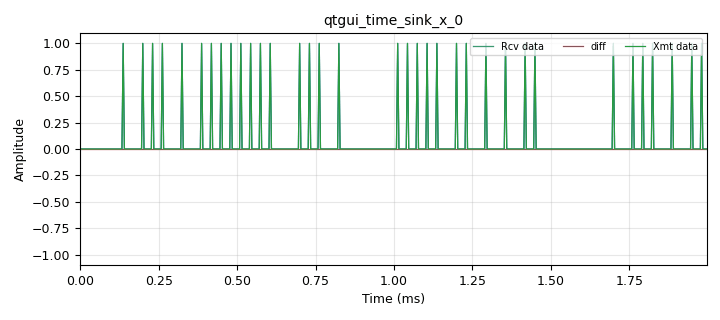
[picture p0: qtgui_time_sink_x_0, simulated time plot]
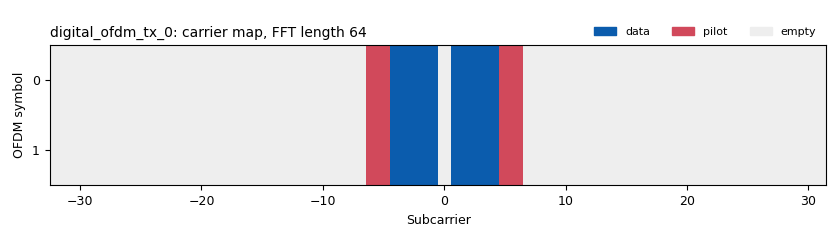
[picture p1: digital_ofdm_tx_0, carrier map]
options:
  parameters:
    category: Custom
    description: OFDM loopback with BER measurement
    generate_options: qt_gui
    id: OFDM_loopback_BER_2
    output_language: python
    title: OFDM_loopback_BER_2
  states: {}

blocks:
- name: delay
  id: variable_qtgui_range
  parameters:
    label: Delay
    rangeType: int
    start: '0'
    step: '1'
    stop: '1000'
    value: '100'
    widget: counter
  states: {}
- name: fft_len
  id: variable
  parameters:
    value: '64'
  states: {}
- name: freq_offset
  id: variable_qtgui_range
  parameters:
    label: Frequency Offset
    start: '-0.1'
    step: '0.001'
    stop: '0.1'
    value: '0'
  states: {}
- name: len_tag_key
  id: variable
  parameters:
    value: '"packet_len"'
  states: {}
- name: noise_volt
  id: variable_qtgui_range
  parameters:
    label: Noise Voltage
    start: '0'
    step: '0.01'
    stop: '1'
    value: '0.0'
  states: {}
- name: packet_len
  id: variable
  parameters:
    value: '50'
  states: {}
- name: samp_rate
  id: variable
  parameters:
    value: 256e3
  states: {}
- name: taps
  id: variable
  parameters:
    value: '[1.0 + 0.0j, ]'
  states: {}
- name: time_offset
  id: variable_qtgui_range
  parameters:
    label: Timing Offset
    start: '0.999'
    step: '0.0001'
    stop: '1.001'
    value: '1.000'
  states: {}
- name: Ber
  id: qtgui_number_sink
  parameters:
    autoscale: 'True'
    graph_type: qtgui.NUM_GRAPH_HORIZ
    name: Ber
    type: float
  states: {}
- name: analog_random_source_x_0
  id: analog_random_source_x
  parameters:
    max: '2'
    min: '0'
    num_samps: '50'
    repeat: 'True'
    type: byte
  states: {}
- name: blocks_delay_0
  id: blocks_delay
  parameters:
    delay: delay
    type: byte
  states: {}
- name: blocks_repack_bits_bb_1_0
  id: blocks_repack_bits_bb
  parameters:
    endianness: gr.GR_MSB_FIRST
    k: '8'
    l: '1'
    len_tag_key: ''
  states: {}
- name: blocks_repack_bits_bb_1_0_0
  id: blocks_repack_bits_bb
  parameters:
    endianness: gr.GR_MSB_FIRST
    k: '8'
    l: '1'
    len_tag_key: ''
  states: {}
- name: blocks_stream_to_tagged_stream_0
  id: blocks_stream_to_tagged_stream
  parameters:
    len_tag_key: len_tag_key
    packet_len: packet_len
    type: byte
  states: {}
- name: blocks_sub_xx_0
  id: blocks_sub_xx
  parameters:
    type: float
  states: {}
- name: blocks_throttle_0
  id: blocks_throttle
  parameters:
    samples_per_second: samp_rate
    type: complex
  states: {}
- name: blocks_uchar_to_float_1_0
  id: blocks_uchar_to_float
  parameters: {}
  states: {}
- name: blocks_uchar_to_float_1_0_0
  id: blocks_uchar_to_float
  parameters: {}
  states: {}
- name: channels_channel_model_0
  id: channels_channel_model
  parameters:
    block_tags: 'True'
    epsilon: time_offset
    freq_offset: freq_offset
    noise_voltage: noise_volt
    seed: '0'
    taps: taps
  states: {}
- name: digital_ofdm_rx_0
  id: digital_ofdm_rx
  parameters:
    cp_len: fft_len//4
    fft_len: fft_len
    header_mod: '"BPSK"'
    occupied_carriers: ((-4,-3,-2,-1,1,2,3,4),)
    packet_len_key: '"rx_len"'
    payload_mod: '"QPSK"'
    pilot_carriers: ((-6,-5,5,6),)
    pilot_symbols: ((-1,1,-1,1),)
    sync_word1: None
    sync_word2: None
  states: {}
- name: digital_ofdm_tx_0
  id: digital_ofdm_tx
  parameters:
    cp_len: fft_len//4
    fft_len: fft_len
    header_mod: '"BPSK"'
    occupied_carriers: ((-4,-3,-2,-1,1,2,3,4),)
    packet_len_key: len_tag_key
    payload_mod: '"QPSK"'
    pilot_carriers: ((-6,-5,5,6),)
    pilot_symbols: ((-1,1,-1,1),)
    rolloff: '0'
    sync_word1: None
    sync_word2: None
  states: {}
- name: fec_ber_bf_0
  id: fec_ber_bf
  parameters:
    berminerrors: '1'
    test_mode: 'False'
  states: {}
- name: qtgui_time_sink_x_0
  id: qtgui_time_sink_x
  parameters:
    ctrlpanel: 'True'
    label1: Rcv data
    label2: diff
    label3: Xmt data
    name: ''
    nconnections: '3'
    size: '512'
    srate: samp_rate
    tr_delay: '50e-6'
    tr_level: '0'
    tr_mode: qtgui.TRIG_MODE_TAG
    tr_tag: '"rx_len"'
    type: float
    ymax: '1.1'
    ymin: '-1.1'
  states: {}
- name: virtual_sink_0
  id: virtual_sink
  parameters:
    stream_id: t1
  states: {}
- name: virtual_sink_1
  id: virtual_sink
  parameters:
    stream_id: t2
  states: {}
- name: virtual_source_0
  id: virtual_source
  parameters:
    stream_id: t1
  states: {}
- name: virtual_source_1
  id: virtual_source
  parameters:
    stream_id: t2
  states: {}

connections:
- [analog_random_source_x_0, '0', blocks_stream_to_tagged_stream_0, '0']
- [analog_random_source_x_0, '0', virtual_sink_0, '0']
- [blocks_delay_0, '0', blocks_repack_bits_bb_1_0_0, '0']
- [blocks_delay_0, '0', fec_ber_bf_0, '1']
- [blocks_repack_bits_bb_1_0, '0', blocks_uchar_to_float_1_0, '0']
- [blocks_repack_bits_bb_1_0_0, '0', blocks_uchar_to_float_1_0_0, '0']
- [blocks_stream_to_tagged_stream_0, '0', digital_ofdm_tx_0, '0']
- [blocks_sub_xx_0, '0', qtgui_time_sink_x_0, '1']
- [blocks_throttle_0, '0', channels_channel_model_0, '0']
- [blocks_uchar_to_float_1_0, '0', blocks_sub_xx_0, '0']
- [blocks_uchar_to_float_1_0, '0', qtgui_time_sink_x_0, '0']
- [blocks_uchar_to_float_1_0_0, '0', blocks_sub_xx_0, '1']
- [blocks_uchar_to_float_1_0_0, '0', qtgui_time_sink_x_0, '2']
- [channels_channel_model_0, '0', virtual_sink_1, '0']
- [digital_ofdm_rx_0, '0', blocks_repack_bits_bb_1_0, '0']
- [digital_ofdm_rx_0, '0', fec_ber_bf_0, '0']
- [digital_ofdm_tx_0, '0', blocks_throttle_0, '0']
- [fec_ber_bf_0, '0', Ber, '0']
- [virtual_source_0, '0', blocks_delay_0, '0']
- [virtual_source_1, '0', digital_ofdm_rx_0, '0']

metadata:
  file_format: 1
